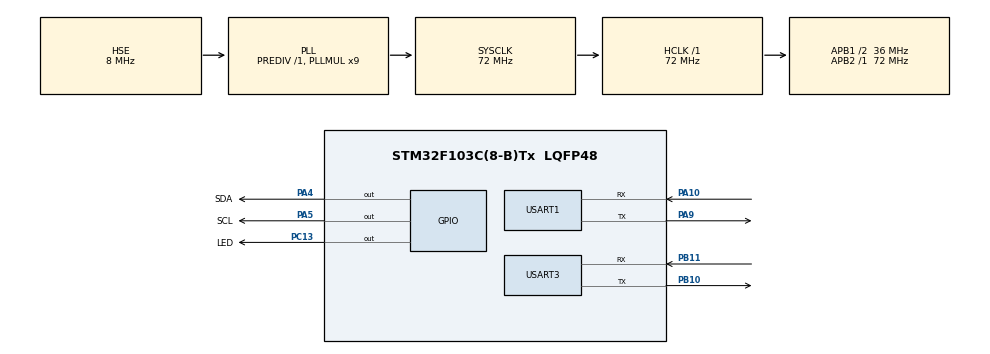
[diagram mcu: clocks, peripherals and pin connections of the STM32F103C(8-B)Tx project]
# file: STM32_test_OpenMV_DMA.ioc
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Dma.Request0=USART3_RX
Dma.USART3_RX.0.Direction=DMA_PERIPH_TO_MEMORY
Dma.USART3_RX.0.Instance=DMA1_Channel3
Dma.USART3_RX.0.MemDataAlignment=DMA_MDATAALIGN_BYTE
Dma.USART3_RX.0.MemInc=DMA_MINC_ENABLE
Dma.USART3_RX.0.Mode=DMA_NORMAL
Dma.USART3_RX.0.PeriphDataAlignment=DMA_PDATAALIGN_BYTE
Dma.USART3_RX.0.PeriphInc=DMA_PINC_DISABLE
Dma.USART3_RX.0.Priority=DMA_PRIORITY_LOW
Mcu.Family=STM32F1
Mcu.Name=STM32F103C(8-B)Tx
Mcu.Package=LQFP48
NVIC.DMA1_Channel3_IRQn=true\:2\:1\:true\:false\:true\:false\:true\:true
NVIC.PriorityGroup=NVIC_PRIORITYGROUP_2
NVIC.USART3_IRQn=true\:3\:1\:true\:false\:true\:true\:true\:true
PA10.Mode=Asynchronous
PA10.Signal=USART1_RX
PA13.Mode=Serial_Wire
PA13.Signal=SYS_JTMS-SWDIO
PA14.Mode=Serial_Wire
PA14.Signal=SYS_JTCK-SWCLK
PA4.GPIO_Label=SDA
PA4.GPIO_ModeDefaultOutputPP=GPIO_MODE_OUTPUT_OD
PA4.GPIO_PuPd=GPIO_PULLUP
PA4.GPIO_Speed=GPIO_SPEED_FREQ_MEDIUM
PA4.Signal=GPIO_Output
PA5.GPIO_Label=SCL
PA5.GPIO_ModeDefaultOutputPP=GPIO_MODE_OUTPUT_OD
PA5.GPIO_PuPd=GPIO_PULLUP
PA5.GPIO_Speed=GPIO_SPEED_FREQ_MEDIUM
PA5.Signal=GPIO_Output
PA9.Mode=Asynchronous
PA9.Signal=USART1_TX
PB10.Mode=Asynchronous
PB10.Signal=USART3_TX
PB11.Mode=Asynchronous
PB11.Signal=USART3_RX
PC13-TAMPER-RTC.GPIO_Label=LED
PC13-TAMPER-RTC.GPIO_ModeDefaultOutputPP=GPIO_MODE_OUTPUT_PP
PC13-TAMPER-RTC.GPIO_Speed=GPIO_SPEED_FREQ_MEDIUM
PC13-TAMPER-RTC.PinState=GPIO_PIN_SET
PC13-TAMPER-RTC.Signal=GPIO_Output
PD0-OSC_IN.Mode=HSE-External-Oscillator
PD0-OSC_IN.Signal=RCC_OSC_IN
PD1-OSC_OUT.Mode=HSE-External-Oscillator
PD1-OSC_OUT.Signal=RCC_OSC_OUT
ProjectManager.HeapSize=0x200
ProjectManager.StackSize=0x400
ProjectManager.TargetToolchain=MDK-ARM V5.32
RCC.AHBFreq_Value=72000000
RCC.APB1CLKDivider=RCC_HCLK_DIV2
RCC.APB1Freq_Value=36000000
RCC.APB1TimFreq_Value=72000000
RCC.APB2Freq_Value=72000000
RCC.APB2TimFreq_Value=72000000
RCC.HCLKFreq_Value=72000000
RCC.PLLMUL=RCC_PLL_MUL9
RCC.PLLSourceVirtual=RCC_PLLSOURCE_HSE
RCC.SYSCLKFreq_VALUE=72000000
RCC.SYSCLKSource=RCC_SYSCLKSOURCE_PLLCLK
RCC.USBFreq_Value=72000000
USART1.VirtualMode=VM_ASYNC
USART3.VirtualMode=VM_ASYNC
board=custom

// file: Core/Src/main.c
/* USER CODE BEGIN Header */
/**
  ******************************************************************************
  * @file           : main.c
  * @brief          : Main program body
  ******************************************************************************
  * @attention
  *
  * Copyright (c) 2023 STMicroelectronics.
  * All rights reserved.
  *
  * This software is licensed under terms that can be found in the LICENSE file
  * in the root directory of this software component.
  * If no LICENSE file comes with this software, it is provided AS-IS.
  *
  ******************************************************************************
  */
/* USER CODE END Header */
#include "main.h"
#include "dma.h"
#include "usart.h"
#include "gpio.h"

/* USER CODE BEGIN Includes */
#include "stdio.h"
#include "string.h"
#define RECV_SIZE 255
/* USER CODE END Includes */

/* USER CODE BEGIN PTD */
uint8_t usart3_recv[RECV_SIZE];

int fputc(int ch, FILE *f)
{
  HAL_UART_Transmit(&huart1, (uint8_t *)&ch, 1, 0xffff);
  return ch;
}
/* USER CODE END PTD */

void SystemClock_Config(void);

int main(void)
{

  /* MCU Configuration--------------------------------------------------------*/

  /* Reset of all peripherals, Initializes the Flash interface and the Systick. */
  HAL_Init();

  /* Configure the system clock */
  SystemClock_Config();

  /* Initialize all configured peripherals */
  MX_GPIO_Init();
  MX_DMA_Init();
  MX_USART1_UART_Init();
  MX_USART3_UART_Init();
  /* USER CODE BEGIN 2 */
  __HAL_UART_ENABLE_IT(&huart3, UART_IT_RXNE);
  __HAL_UART_ENABLE_IT(&huart3, UART_IT_IDLE);
  __HAL_UART_CLEAR_IDLEFLAG(&huart3);
    HAL_UART_Receive_DMA(&huart3, usart3_recv, RECV_SIZE);
  /* USER CODE END 2 */

  /* Infinite loop */
  while (1)
  {

    /* USER CODE BEGIN 3 */
	  HAL_GPIO_TogglePin(LED_GPIO_Port,LED_Pin);
    if(strlen((char *)usart3_recv) != 0)
    {
      printf("receive:%s len:%d\r\n",usart3_recv,strlen((char *)usart3_recv));
    }
    else
    {
      printf("No message from OpenMV \r\n");
    }
    HAL_Delay(500);
  }
  /* USER CODE END 3 */
}

void SystemClock_Config(void)
{
  RCC_OscInitTypeDef RCC_OscInitStruct = {0};
  RCC_ClkInitTypeDef RCC_ClkInitStruct = {0};

  /** Initializes the RCC Oscillators according to the specified parameters
  * in the RCC_OscInitTypeDef structure.
  */
  RCC_OscInitStruct.OscillatorType = RCC_OSCILLATORTYPE_HSE;
  RCC_OscInitStruct.HSEState = RCC_HSE_ON;
  RCC_OscInitStruct.HSEPredivValue = RCC_HSE_PREDIV_DIV1;
  RCC_OscInitStruct.HSIState = RCC_HSI_ON;
  RCC_OscInitStruct.PLL.PLLState = RCC_PLL_ON;
  RCC_OscInitStruct.PLL.PLLSource = RCC_PLLSOURCE_HSE;
  RCC_OscInitStruct.PLL.PLLMUL = RCC_PLL_MUL9;
  if (HAL_RCC_OscConfig(&RCC_OscInitStruct) != HAL_OK)
  {
    Error_Handler();
  }

  /** Initializes the CPU, AHB and APB buses clocks
  */
  RCC_ClkInitStruct.ClockType = RCC_CLOCKTYPE_HCLK|RCC_CLOCKTYPE_SYSCLK
                              |RCC_CLOCKTYPE_PCLK1|RCC_CLOCKTYPE_PCLK2;
  RCC_ClkInitStruct.SYSCLKSource = RCC_SYSCLKSOURCE_PLLCLK;
  RCC_ClkInitStruct.AHBCLKDivider = RCC_SYSCLK_DIV1;
  RCC_ClkInitStruct.APB1CLKDivider = RCC_HCLK_DIV2;
  RCC_ClkInitStruct.APB2CLKDivider = RCC_HCLK_DIV1;

  if (HAL_RCC_ClockConfig(&RCC_ClkInitStruct, FLASH_LATENCY_2) != HAL_OK)
  {
    Error_Handler();
  }
}

void Error_Handler(void)
{
  __disable_irq();
  while (1)
  {
  }
}
